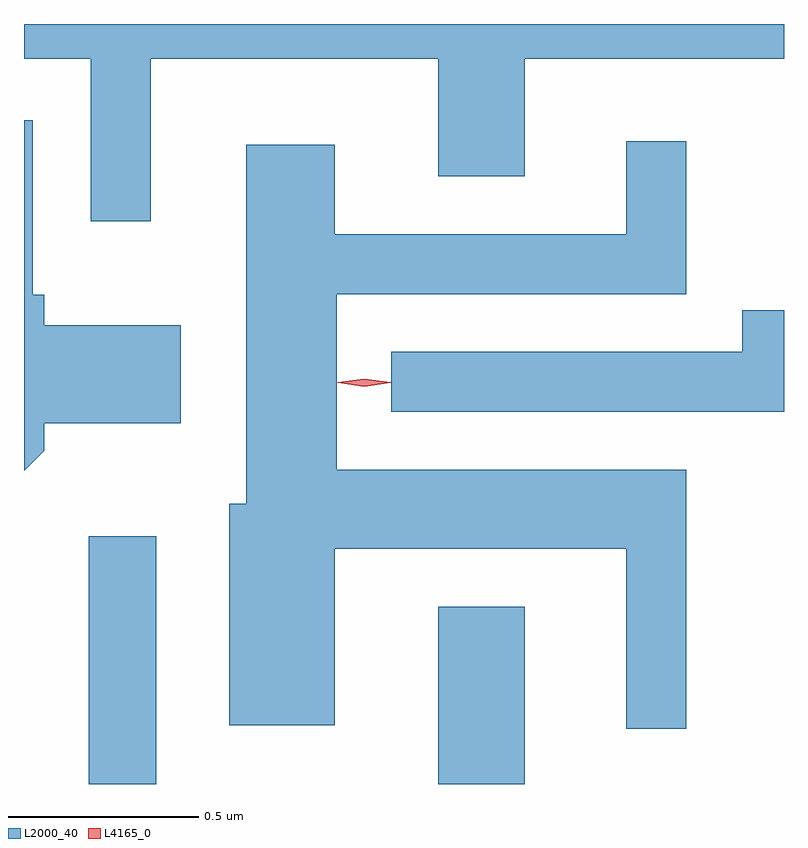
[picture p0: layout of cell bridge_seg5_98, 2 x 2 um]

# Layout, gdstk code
import gdstk
lib = gdstk.Library(unit=1e-6, precision=1e-09)
def R(c, l, rs):  # rectangles x0, y0, x1, y1
    for r in rs: c.add(gdstk.rectangle(r[:2], r[2:], *l))
def P(c, l, *ps):  # polygons
    for p in ps: c.add(gdstk.Polygon(p, *l))
L2000_40 = (2000, 40)
L4165_0 = (4165, 0)

bridge_seg5_98 = lib.new_cell('bridge_seg5_98')
R(bridge_seg5_98, L2000_40, [(1059.591,1461.547,1059.769,1462.199), (1060.511,1461.547,1060.739,1462.014)])
P(bridge_seg5_98, L2000_40, [(1059.754,1463.456),(1060.511,1463.456),(1060.511,1463.146),(1060.739,1463.146),(1060.739,1463.456),(1061.421,1463.456),(1061.421,1463.547),(1059.421,1463.547),(1059.421,1463.456),(1059.596,1463.456),(1059.596,1463.028),(1059.754,1463.028)],
  [(1059.474,1462.424),(1059.474,1462.496),(1059.834,1462.496),(1059.834,1462.754),(1059.474,1462.754),(1059.474,1462.834),(1059.444,1462.834),(1059.444,1463.294),(1059.421,1463.294),(1059.421,1462.371)],
  [(1061.164,1462.374),(1060.244,1462.374),(1060.244,1462.836),(1061.164,1462.836),(1061.164,1463.238),(1061.006,1463.238),(1061.006,1462.994),(1060.239,1462.994),(1060.239,1463.229),(1060.006,1463.229),(1060.006,1462.284),(1059.961,1462.284),(1059.961,1461.701),(1060.239,1461.701),(1060.239,1462.166),(1061.006,1462.166),(1061.006,1461.693),(1061.164,1461.693)],
  [(1061.421,1462.794),(1061.311,1462.794),(1061.311,1462.684),(1060.388,1462.684),(1060.388,1462.526),(1061.421,1462.526)])
P(bridge_seg5_98, L4165_0, [(1060.317,1462.593),(1060.247,1462.603),(1060.247,1462.603),(1060.247,1462.604),(1060.317,1462.613),(1060.386,1462.604),(1060.386,1462.603),(1060.386,1462.603)],
  [(1060.316,1462.593),(1060.25,1462.603),(1060.25,1462.603),(1060.25,1462.604),(1060.316,1462.613),(1060.382,1462.604),(1060.383,1462.603),(1060.382,1462.603)])

lib.write_gds('bridge_seg5_98.gds')
